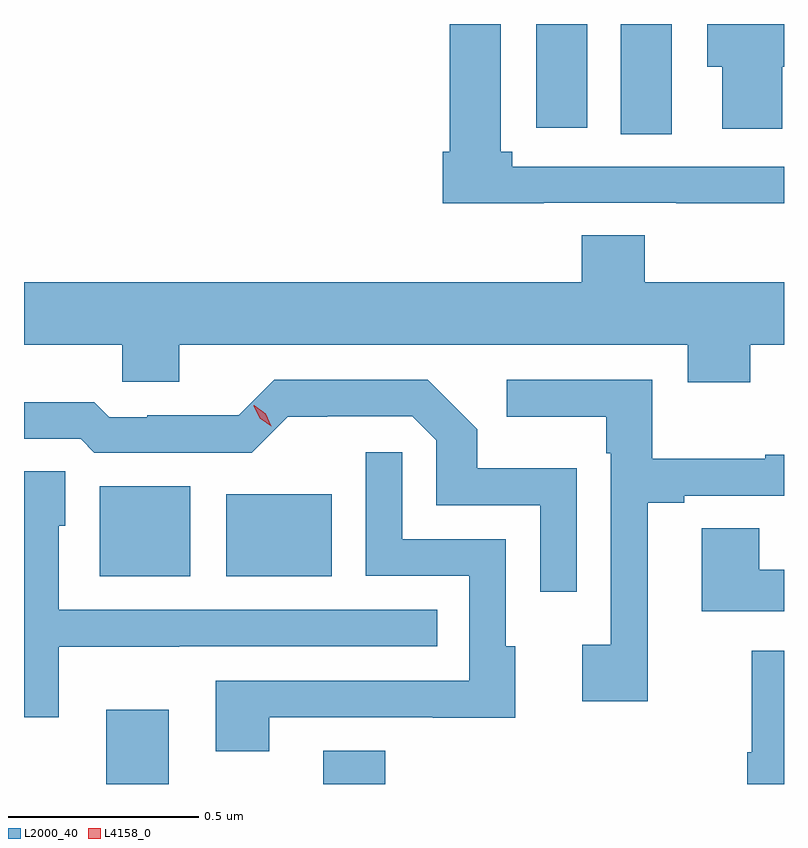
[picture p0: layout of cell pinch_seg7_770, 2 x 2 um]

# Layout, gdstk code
import gdstk
lib = gdstk.Library(unit=1e-6, precision=1e-09)
def R(c, l, rs):  # rectangles x0, y0, x1, y1
    for r in rs: c.add(gdstk.rectangle(r[:2], r[2:], *l))
def P(c, l, *ps):  # polygons
    for p in ps: c.add(gdstk.Polygon(p, *l))
L2000_40 = (2000, 40)
L4158_0 = (4158, 0)

pinch_seg7_770 = lib.new_cell('pinch_seg7_770')
R(pinch_seg7_770, L2000_40, [(333.389,1019.44,333.553,1019.635), (333.959,1019.44,334.123,1019.527), (333.371,1019.987,333.61,1020.223), (333.704,1019.987,333.982,1020.202), (334.742,1021.15,334.876,1021.44), (334.52,1021.167,334.654,1021.44)])
P(pinch_seg7_770, L2000_40, [(334.54,1020.969),(334.888,1020.969),(334.888,1020.968),(335.172,1020.968),(335.172,1021.065),(334.457,1021.065),(334.457,1021.104),(334.426,1021.104),(334.426,1021.44),(334.292,1021.44),(334.292,1021.104),(334.274,1021.104),(334.274,1020.968),(334.54,1020.968)],
  [(335.167,1021.328),(335.172,1021.328),(335.172,1021.44),(334.97,1021.44),(334.97,1021.328),(335.009,1021.328),(335.009,1021.164),(335.167,1021.164)],
  [(335.083,1020.596),(335.172,1020.596),(335.172,1020.76),(334.805,1020.76),(334.805,1020.884),(334.64,1020.884),(334.64,1020.76),(333.172,1020.76),(333.172,1020.596),(333.43,1020.596),(333.43,1020.498),(333.58,1020.498),(333.58,1020.596),(334.919,1020.596),(334.919,1020.497),(335.083,1020.497)],
  [(334.626,1020.271),(334.365,1020.271),(334.365,1020.374),(334.234,1020.504),(333.831,1020.504),(333.737,1020.41),(333.496,1020.41),(333.496,1020.405),(333.396,1020.405),(333.357,1020.445),(333.172,1020.445),(333.172,1020.348),(333.321,1020.348),(333.357,1020.312),(333.771,1020.312),(333.866,1020.407),(333.97,1020.407),(333.97,1020.408),(334.194,1020.408),(334.257,1020.345),(334.257,1020.174),(334.53,1020.174),(334.53,1019.946),(334.626,1019.946)],
  [(334.813,1020.18),(334.909,1020.18),(334.909,1020.198),(335.172,1020.198),(335.172,1020.307),(335.123,1020.307),(335.123,1020.296),(334.825,1020.296),(334.825,1020.504),(334.443,1020.504),(334.443,1020.407),(334.704,1020.407),(334.704,1020.311),(334.716,1020.311),(334.716,1019.806),(334.641,1019.806),(334.641,1019.658),(334.813,1019.658)],
  [(333.817,1019.616),(334.247,1019.616),(334.247,1019.615),(334.465,1019.615),(334.465,1019.802),(334.44,1019.802),(334.44,1020.084),(334.167,1020.084),(334.167,1020.313),(334.071,1020.313),(334.071,1019.988),(334.344,1019.988),(334.344,1019.712),(333.677,1019.712),(333.677,1019.526),(333.817,1019.526)],
  [(333.264,1019.801),(333.581,1019.801),(333.581,1019.802),(334.259,1019.802),(334.259,1019.898),(333.264,1019.898),(333.264,1020.12),(333.28,1020.12),(333.28,1020.263),(333.172,1020.263),(333.172,1019.616),(333.264,1019.616)],
  [(335.172,1020.004),(335.107,1020.004),(335.107,1020.113),(334.955,1020.113),(334.955,1019.894),(335.172,1019.894)],
  [(335.172,1019.791),(335.087,1019.791),(335.087,1019.524),(335.075,1019.524),(335.075,1019.44),(335.172,1019.44)])
P(pinch_seg7_770, L4158_0, [(333.823,1020.381),(333.792,1020.402),(333.777,1020.436),(333.777,1020.437),(333.778,1020.437),(333.808,1020.415),(333.823,1020.381),(333.823,1020.381)])

lib.write_gds('pinch_seg7_770.gds')
